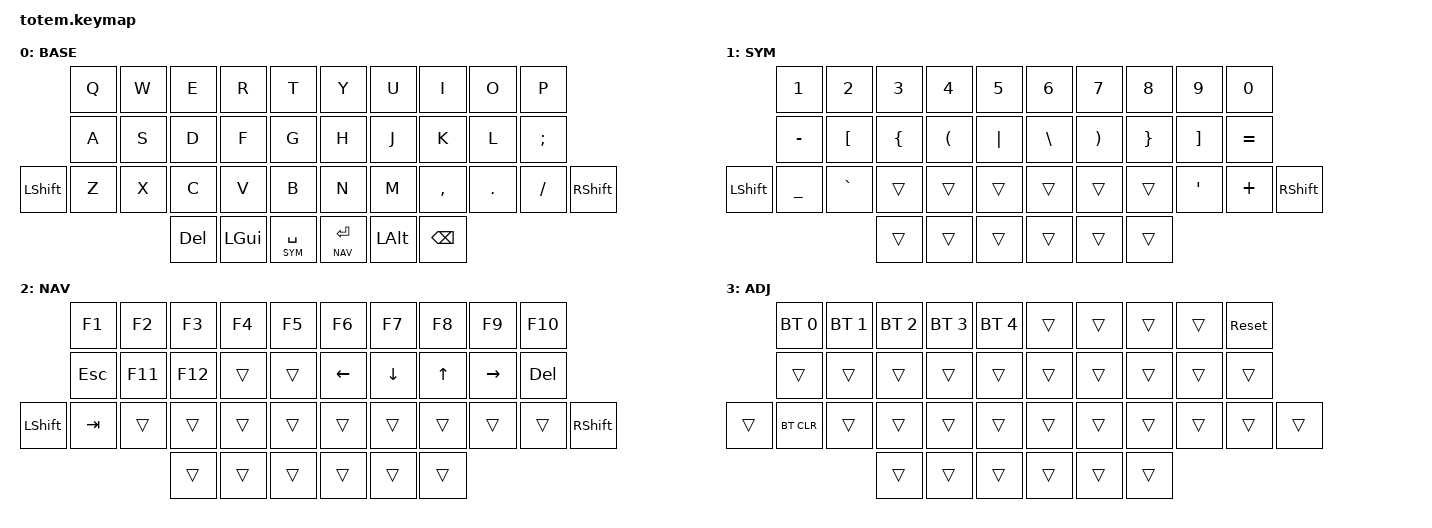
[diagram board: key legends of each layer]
//
//  TOTEM keymap
//  BASE / SYM / NAV / ADJ
//

#include <behaviors.dtsi>
#include <dt-bindings/zmk/keys.h>
#include <dt-bindings/zmk/bt.h>
#include <dt-bindings/zmk/outputs.h>

#define BASE 0
#define SYM  1
#define NAV  2
#define ADJ  3

/ {

// ┏━━━━━━━━━━━━━━━━━━━━━━━━━━━━━━━━━━━━━━━━━━━━━━━━━━━━━━━━━━━━━━━━━━━━━━━━━┓
//   CONDITIONAL LAYERS — SYM(1) + NAV(2) 동시 활성 시 ADJ(3) 진입
// ┗━━━━━━━━━━━━━━━━━━━━━━━━━━━━━━━━━━━━━━━━━━━━━━━━━━━━━━━━━━━━━━━━━━━━━━━━━┛

    conditional_layers {
        compatible = "zmk,conditional-layers";
        adj_layer {
            if-layers = <SYM NAV>;
            then-layer = <ADJ>;
        };
    };

// ┏━━━━━━━━━━━━━━━━━━━━━━━━━━━━━━━━━━━━━━━━━━━━━━━━━━━━━━━━━━━━━━━━━━━━━━━━━┓
//   COMBOS
//   - 양쪽 SHIFT 동시: 한영전환 (CAPS)
//     pos 20 = LSHIFT (bottom-row outer left)
//     pos 31 = RSHIFT (bottom-row outer right)
// ┗━━━━━━━━━━━━━━━━━━━━━━━━━━━━━━━━━━━━━━━━━━━━━━━━━━━━━━━━━━━━━━━━━━━━━━━━━┛

    combos {
        compatible = "zmk,combos";
        combo_hangul {
            timeout-ms = <50>;
            key-positions = <20 31>;
            bindings = <&kp CAPS>;
        };
    };

    keymap {
        compatible = "zmk,keymap";

// ┏━━━━━━━━━━━━━━━━━━━━━━━━━━━━━━━━━━━━━━━━━━━━━━━━━━━━━━━━━━━━━━━━━━━━━━━━━┓
//   BASE LAYER
//
//          Q    W    E    R    T        Y    U    I    O    P
//          A    S    D    F    G        H    J    K    L    ;
//   LSFT   Z    X    C    V    B        N    M    ,    .    /   RSFT
//               DEL  CMD  SPC(1)    ENT(2)  OPT  BSPC
// ┗━━━━━━━━━━━━━━━━━━━━━━━━━━━━━━━━━━━━━━━━━━━━━━━━━━━━━━━━━━━━━━━━━━━━━━━━━┛

        base_layer {
            label = "BASE";
            bindings = <
                &kp Q     &kp W     &kp E     &kp R     &kp T         &kp Y        &kp U     &kp I      &kp O    &kp P
                &kp A     &kp S     &kp D     &kp F     &kp G         &kp H        &kp J     &kp K      &kp L    &kp SEMI
    &kp LSHFT  &kp Z     &kp X     &kp C     &kp V     &kp B         &kp N        &kp M     &kp COMMA  &kp DOT  &kp FSLH  &kp RSHFT
                                   &kp DEL   &kp LGUI  &lt SYM SPACE &lt NAV RET  &kp LALT  &kp BSPC
            >;
        };

// ┏━━━━━━━━━━━━━━━━━━━━━━━━━━━━━━━━━━━━━━━━━━━━━━━━━━━━━━━━━━━━━━━━━━━━━━━━━┓
//   SYM LAYER (SPC 홀드)
//
//          1    2    3    4    5        6    7    8    9    0
//          -    [    {    (    |        \    )    }    ]    =
//   LSFT   _    `    __   __   __       __   __   __   '    +   RSFT
//               DEL  CMD  SPC(1)    ENT(2)  OPT  BSPC
// ┗━━━━━━━━━━━━━━━━━━━━━━━━━━━━━━━━━━━━━━━━━━━━━━━━━━━━━━━━━━━━━━━━━━━━━━━━━┛

        sym_layer {
            label = "SYM";
            bindings = <
                &kp N1     &kp N2     &kp N3     &kp N4    &kp N5         &kp N6    &kp N7    &kp N8    &kp N9   &kp N0
                &kp MINUS  &kp LBKT   &kp LBRC   &kp LPAR  &kp PIPE       &kp BSLH  &kp RPAR  &kp RBRC  &kp RBKT &kp EQUAL
    &kp LSHFT  &kp UNDER  &kp GRAVE  &trans     &trans    &trans         &trans    &trans    &trans    &kp SQT  &kp PLUS  &kp RSHFT
                                     &trans     &trans    &trans         &trans    &trans    &trans
            >;
        };

// ┏━━━━━━━━━━━━━━━━━━━━━━━━━━━━━━━━━━━━━━━━━━━━━━━━━━━━━━━━━━━━━━━━━━━━━━━━━┓
//   NAV LAYER (ENT 홀드)
//
//          F1   F2   F3   F4   F5       F6   F7   F8   F9   F10
//          ESC  F11  F12  __   __      LEFT DOWN  UP  RGHT  DEL
//   LSFT   TAB  __   __   __   __       __   __   __   __   __   RSFT
//               DEL  CMD  SPC(1)    ENT(2)  OPT  BSPC
// ┗━━━━━━━━━━━━━━━━━━━━━━━━━━━━━━━━━━━━━━━━━━━━━━━━━━━━━━━━━━━━━━━━━━━━━━━━━┛

        nav_layer {
            label = "NAV";
            bindings = <
                &kp F1    &kp F2   &kp F3   &kp F4  &kp F5         &kp F6    &kp F7    &kp F8  &kp F9     &kp F10
                &kp ESC   &kp F11  &kp F12  &trans  &trans         &kp LEFT  &kp DOWN  &kp UP  &kp RIGHT  &kp DEL
    &kp LSHFT  &kp TAB   &trans   &trans   &trans  &trans         &trans    &trans    &trans  &trans     &trans   &kp RSHFT
                                   &trans   &trans  &trans         &trans    &trans    &trans
            >;
        };

// ┏━━━━━━━━━━━━━━━━━━━━━━━━━━━━━━━━━━━━━━━━━━━━━━━━━━━━━━━━━━━━━━━━━━━━━━━━━┓
//   ADJ LAYER (SYM + NAV 동시 홀드)
//
//          BT0  BT1  BT2  BT3  BT4      __   __   __   __  RST
//          __   __   __   __   __       __   __   __   __   __
//   __    BCLR  __   __   __   __       __   __   __   __   __   __
//               __   __   __            __   __   __
// ┗━━━━━━━━━━━━━━━━━━━━━━━━━━━━━━━━━━━━━━━━━━━━━━━━━━━━━━━━━━━━━━━━━━━━━━━━━┛

        adj_layer {
            label = "ADJ";
            bindings = <
                &bt BT_SEL 0  &bt BT_SEL 1  &bt BT_SEL 2  &bt BT_SEL 3  &bt BT_SEL 4    &trans  &trans  &trans  &trans  &sys_reset
                &trans        &trans        &trans        &trans        &trans           &trans  &trans  &trans  &trans  &trans
    &trans      &bt BT_CLR    &trans        &trans        &trans        &trans           &trans  &trans  &trans  &trans  &trans  &trans
                                            &trans        &trans        &trans           &trans  &trans  &trans
            >;
        };

    };
};
